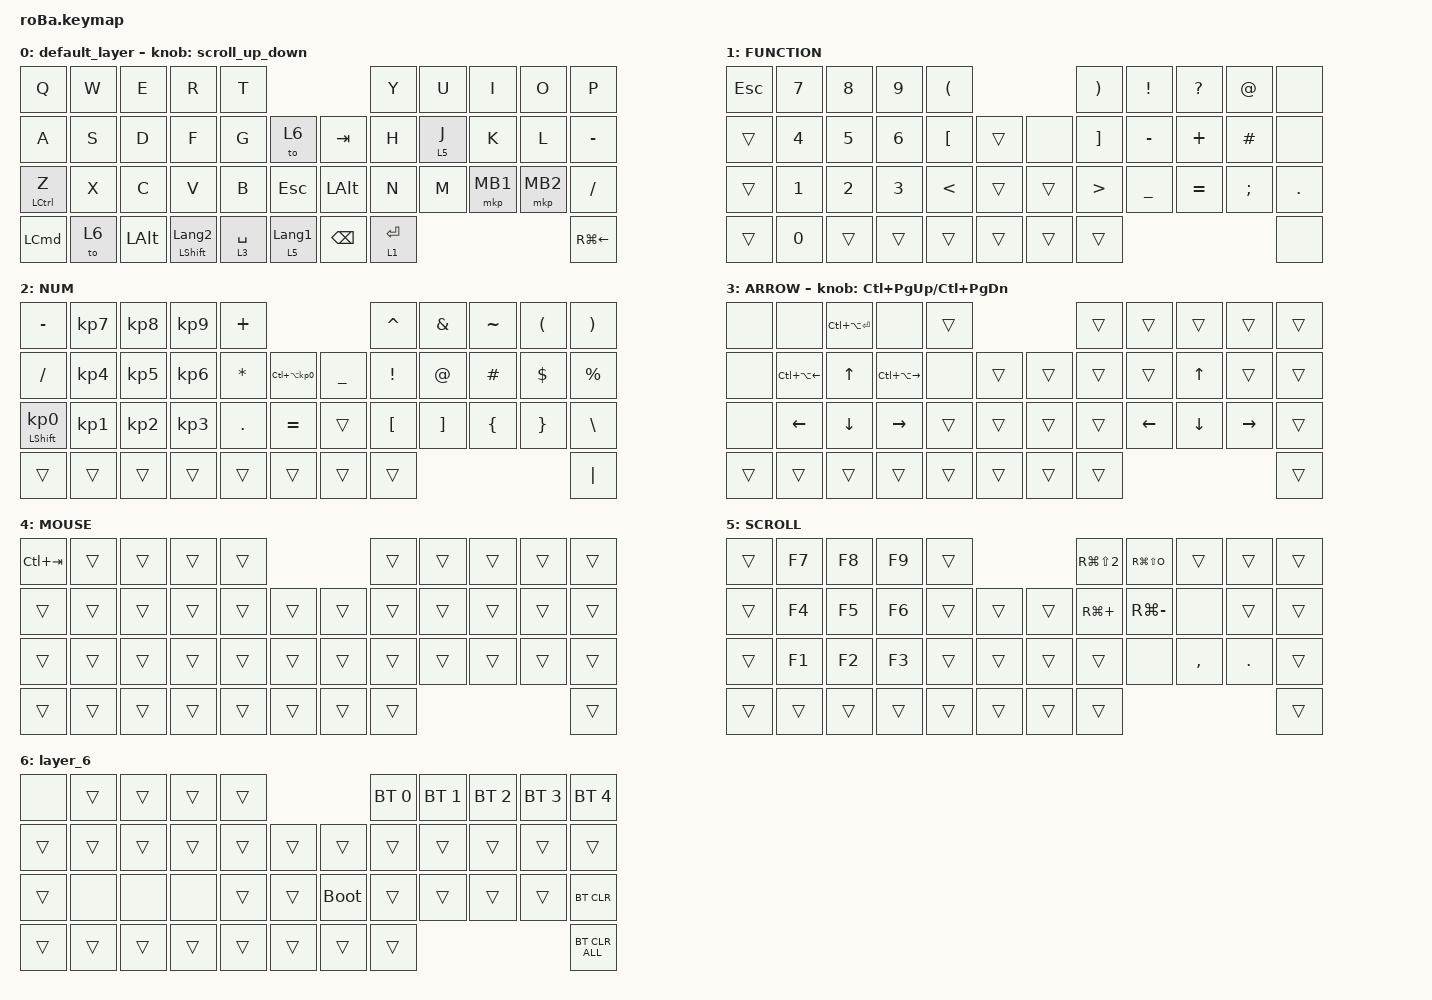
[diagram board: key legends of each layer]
#include <behaviors.dtsi>
#include <dt-bindings/zmk/bt.h>
#include <dt-bindings/zmk/keys.h>
#include <dt-bindings/zmk/pointing.h>

#define ZMK_POINTING_DEFAULT_SCRL_VAL 100
#define MOUSE 4
#define SCROLL 5
#define NUM 6

&mt {
    flavor = "balanced";
    quick-tap-ms = <0>;
};

/ {
    combos {
        compatible = "zmk,combos";

        tab {
            bindings = <&kp TAB>;
            key-positions = <11 12>;
        };

        shift_tab {
            bindings = <&kp LS(TAB)>;
            key-positions = <12 13>;
        };

        muhennkann {
            bindings = <&to_layer_0 INT_MUHENKAN>;
            key-positions = <11 10>;
        };

        double_quotation {
            bindings = <&kp DOUBLE_QUOTES>;
            key-positions = <20 21>;
        };

        eq {
            bindings = <&kp EQUAL>;
            key-positions = <24 25>;
        };
    };

    macros {
        to_layer_0: to_layer_0 {
            compatible = "zmk,behavior-macro-one-param";
            #binding-cells = <1>;
            bindings = <&to 0 &macro_param_1to1 &kp MACRO_PLACEHOLDER>;
            label = "TO_LAYER_0";
        };
    };

    behaviors {
        scroll_up_down: behavior_sensor_rotate_mouse_wheel_up_down {
            compatible = "zmk,behavior-sensor-rotate";
            #sensor-binding-cells = <0>;
            bindings = <&msc SCRL_UP>, <&msc SCRL_DOWN>;

            tap-ms = <20>;
        };

        lt_to_layer_0: lt_to_layer_0 {
            compatible = "zmk,behavior-hold-tap";
            label = "LAYER_TAP_TO_0";
            bindings = <&mo>, <&to_layer_0>;

            #binding-cells = <2>;
            tapping-term-ms = <200>;
        };
    };

    keymap {
        compatible = "zmk,keymap";

        default_layer {
            bindings = <
&kp Q               &kp W  &kp E         &kp R                  &kp T                                             &kp Y        &kp U    &kp I     &kp O     &kp P
&kp A               &kp S  &kp D         &kp F                  &kp G        &to 6                 &kp TAB        &kp H        &lt 5 J  &kp K     &kp L     &kp MINUS
&mt LEFT_CONTROL Z  &kp X  &kp C         &kp V                  &kp B        &kp ESCAPE            &kp LEFT_ALT   &kp N        &kp M    &mkp MB1  &mkp MB2  &kp SLASH
&kp LEFT_COMMAND    &to 6  &kp LEFT_ALT  &mt LSHIFT LANGUAGE_2  &lt 3 SPACE  &lt 5 LANGUAGE_1      &kp BACKSPACE  &lt 1 ENTER                               &kp RG(LEFT_ARROW)
            >;

            sensor-bindings = <&scroll_up_down>;
        };

        FUNCTION {
            bindings = <
&kp ESCAPE  &kp N7        &kp N8        &kp N9        &kp LEFT_PARENTHESIS                      &kp RIGHT_PARENTHESIS  &kp EXCLAMATION  &kp QUESTION  &kp AT_SIGN    &none
&trans      &kp NUMBER_4  &kp N5        &kp NUMBER_6  &kp LEFT_BRACKET      &trans      &none   &kp RIGHT_BRACKET      &kp MINUS        &kp PLUS      &kp HASH       &none
&trans      &kp NUMBER_1  &kp NUMBER_2  &kp NUMBER_3  &kp LESS_THAN         &trans      &trans  &kp GREATER_THAN       &kp UNDERSCORE   &kp EQUAL     &kp SEMICOLON  &kp PERIOD
&trans      &kp N0        &trans        &trans        &trans                &trans      &trans  &trans                                                               &none
            >;
        };

        NUM {
            bindings = <
&kp MINUS                   &kp KP_NUMBER_7  &kp KP_NUMBER_8  &kp KP_NUMBER_9  &kp PLUS                                                   &kp CARET         &kp AMPERSAND      &kp TILDE       &kp LEFT_PARENTHESIS  &kp RIGHT_PARENTHESIS
&kp SLASH                   &kp KP_NUMBER_4  &kp KP_NUMBER_5  &kp KP_NUMBER_6  &kp ASTERISK  &kp LC(LA(KP_NUMBER_0))      &kp UNDERSCORE  &kp EXCLAMATION   &kp AT_SIGN        &kp HASH        &kp DOLLAR            &kp PERCENT
&mt LEFT_SHIFT KP_NUMBER_0  &kp KP_NUMBER_1  &kp KP_NUMBER_2  &kp KP_NUMBER_3  &kp PERIOD    &kp EQUAL                    &trans          &kp LEFT_BRACKET  &kp RIGHT_BRACKET  &kp LEFT_BRACE  &kp RIGHT_BRACE       &kp BACKSLASH
&trans                      &trans           &trans           &trans           &trans        &trans                       &trans          &trans                                                                     &kp PIPE
            >;
        };

        ARROW {
            bindings = <
&none   &none                   &kp LC(LA(ENTER))  &none                    &trans                      &trans  &trans          &trans          &trans           &trans
&none   &kp LC(LA(LEFT_ARROW))  &kp UP_ARROW       &kp LC(LA(RIGHT_ARROW))  &none   &trans      &trans  &trans  &trans          &kp UP_ARROW    &trans           &trans
&none   &kp LEFT_ARROW          &kp DOWN_ARROW     &kp RIGHT_ARROW          &trans  &trans      &trans  &trans  &kp LEFT_ARROW  &kp DOWN_ARROW  &kp RIGHT_ARROW  &trans
&trans  &trans                  &trans             &trans                   &trans  &trans      &trans  &trans                                                   &trans
            >;

            sensor-bindings = <&inc_dec_kp LC(PAGE_UP) LC(PAGE_DOWN)>;
        };

        MOUSE {
            bindings = <
&kp LC(TAB)  &trans  &trans  &trans  &trans                      &trans  &trans  &trans  &trans  &trans
&trans       &trans  &trans  &trans  &trans  &trans      &trans  &trans  &trans  &trans  &trans  &trans
&trans       &trans  &trans  &trans  &trans  &trans      &trans  &trans  &trans  &trans  &trans  &trans
&trans       &trans  &trans  &trans  &trans  &trans      &trans  &trans                          &trans
            >;
        };

        SCROLL {
            bindings = <
&trans  &kp F7  &kp F8  &kp F9  &trans                      &kp RG(LS(NUMBER_2))  &kp RG(LS(O))  &trans     &trans      &trans
&trans  &kp F4  &kp F5  &kp F6  &trans  &trans      &trans  &kp RG(PLUS)          &kp RG(MINUS)  &none      &trans      &trans
&trans  &kp F1  &kp F2  &kp F3  &trans  &trans      &trans  &trans                &none          &kp COMMA  &kp PERIOD  &trans
&trans  &trans  &trans  &trans  &trans  &trans      &trans  &trans                                                      &trans
            >;
        };

        layer_6 {
            bindings = <
&none   &trans  &trans  &trans  &trans                           &bt BT_SEL 0  &bt BT_SEL 1  &bt BT_SEL 2  &bt BT_SEL 3  &bt BT_SEL 4
&trans  &trans  &trans  &trans  &trans  &trans      &trans       &trans        &trans        &trans        &trans        &trans
&trans  &none   &none   &none   &trans  &trans      &bootloader  &trans        &trans        &trans        &trans        &bt BT_CLR
&trans  &trans  &trans  &trans  &trans  &trans      &trans       &trans                                                  &bt BT_CLR_ALL
            >;
        };
    };
};
